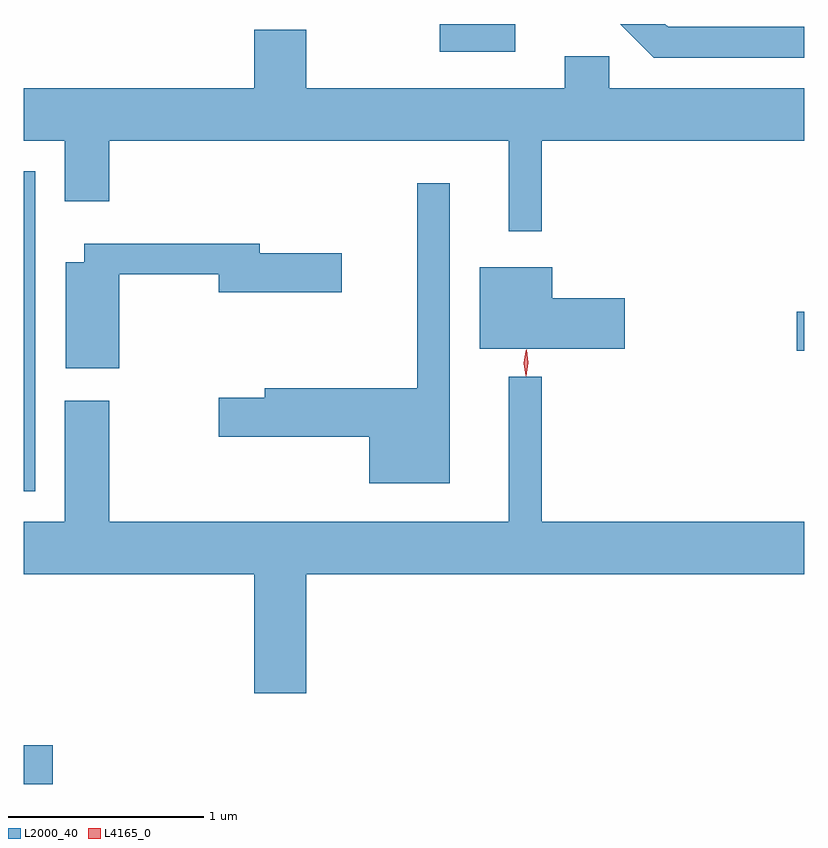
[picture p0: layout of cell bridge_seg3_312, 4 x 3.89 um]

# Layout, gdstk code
import gdstk
lib = gdstk.Library(unit=1e-6, precision=1e-09)
def R(c, l, rs):  # rectangles x0, y0, x1, y1
    for r in rs: c.add(gdstk.rectangle(r[:2], r[2:], *l))
def P(c, l, *ps):  # polygons
    for p in ps: c.add(gdstk.Polygon(p, *l))
L2000_40 = (2000, 40)
L4165_0 = (4165, 0)

bridge_seg3_312 = lib.new_cell('bridge_seg3_312')
R(bridge_seg3_312, L2000_40, [(533.575,1162.681,533.724,1162.879), (533.575,1164.181,533.634,1165.819), (537.536,1164.901,537.575,1165.099), (535.706,1166.431,536.093,1166.574)])
P(bridge_seg3_312, L2000_40, [(537.575,1166.559),(536.877,1166.559),(536.862,1166.574),(536.631,1166.574),(536.804,1166.401),(537.575,1166.401)],
  [(536.229,1165.976),(537.575,1165.976),(537.575,1166.244),(536.574,1166.244),(536.574,1166.409),(536.346,1166.409),(536.346,1166.244),(535.024,1166.244),(535.024,1166.544),(534.756,1166.544),(534.756,1166.244),(533.575,1166.244),(533.575,1165.976),(533.786,1165.976),(533.786,1165.666),(534.014,1165.666),(534.014,1165.976),(536.061,1165.976),(536.061,1165.513),(536.229,1165.513)],
  [(535.759,1165.758),(535.591,1165.758),(535.591,1164.709),(534.811,1164.709),(534.811,1164.659),(534.576,1164.659),(534.576,1164.461),(535.346,1164.461),(535.346,1164.221),(535.759,1164.221)],
  [(534.064,1165.291),(534.576,1165.291),(534.576,1165.201),(535.204,1165.201),(535.204,1165.399),(534.784,1165.399),(534.784,1165.449),(533.886,1165.449),(533.886,1165.354),(533.791,1165.354),(533.791,1164.811),(534.064,1164.811)],
  [(536.654,1165.169),(536.284,1165.169),(536.284,1165.329),(535.911,1165.329),(535.911,1164.911),(536.654,1164.911)],
  [(535.024,1163.756),(537.575,1163.756),(537.575,1164.024),(536.229,1164.024),(536.229,1164.768),(536.061,1164.768),(536.061,1164.024),(534.014,1164.024),(534.014,1164.644),(533.786,1164.644),(533.786,1164.024),(533.575,1164.024),(533.575,1163.756),(534.756,1163.756),(534.756,1163.146),(535.024,1163.146)])
P(bridge_seg3_312, L4165_0, [(536.149,1164.77),(536.149,1164.77),(536.14,1164.838),(536.15,1164.906),(536.151,1164.906),(536.152,1164.906),(536.16,1164.838),(536.15,1164.77)],
  [(536.147,1164.773),(536.147,1164.773),(536.137,1164.836),(536.147,1164.899),(536.147,1164.9),(536.148,1164.899),(536.157,1164.836),(536.148,1164.773)])

lib.write_gds('bridge_seg3_312.gds')
